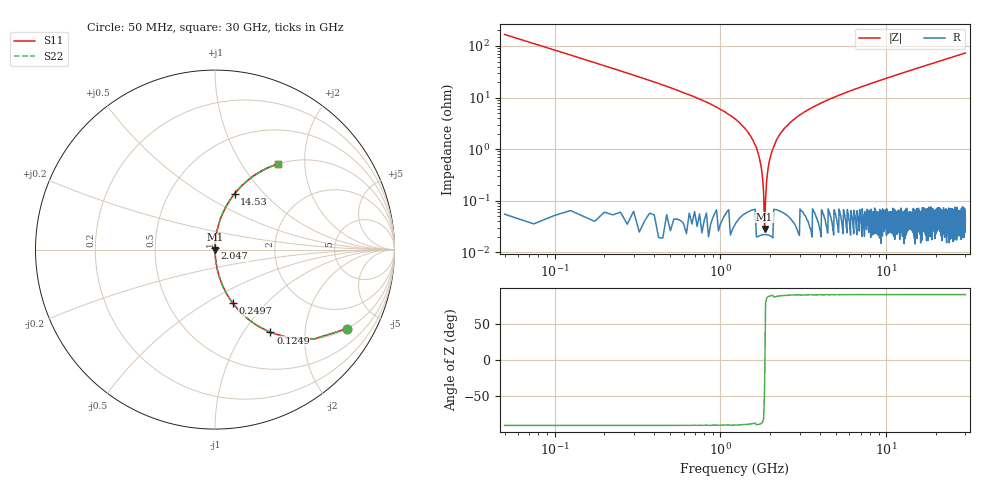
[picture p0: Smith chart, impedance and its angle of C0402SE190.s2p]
!	AVX Thin Film Operation 	Date: April 2014
!	Description: Accu-P® Series, Thin Film  SMD RF Capacitor
!	Part Number: 04023K190FBSTR
# MHZ S MA R 50
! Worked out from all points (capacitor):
!   1201 points, 50 MHz to 30 GHz, reference 50 ohm
!   read as one part in series: C = 19 pF near 199.8 MHz
!   lowest |Z| = 28.2 mohm at 1.847 GHz (marker M1)
!   series resonance near 1.851 GHz, so ESL is about 390 pH
!   S11 on the Smith chart (normalised r, x): 50 MHz: 1.00, -3.35; 124.9 MHz: 1.00, -1.34; 249.7 MHz: 1.00, -0.66; 2.047 GHz: 1.00, +0.02; 14.53 GHz: 1.00, +0.70; 30 GHz: 1.00, +1.46
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50  0.858 -30.8  0.513 59.1  0.513 59.1  0.858 -30.8
124.875  0.555 -56.2  0.831 33.7  0.831 33.7  0.555 -56.2
249.667  0.313 -71.7  0.949 18.2  0.949 18.2  0.313 -71.7
374.458  0.21 -77.8  0.977 12.1  0.977 12.1  0.21 -77.8
624.042  0.118 -83.0  0.993 6.8  0.993 6.8  0.118 -83.0
1422.708  0.024 -87.6  0.999 1.4  0.999 1.4  0.024 -87.6
1622.375  0.012 -87.2  0.999 0.7  0.999 0.7  0.012 -87.2
1747.167  0.005227 -84.9  1 0.3  1 0.3  0.005227 -84.9
1847  0.0004744 -22.0  1 0.0  1 0.0  0.0004744 -22.0
1946.833  0.004609 84.3  1 -0.3  1 -0.3  0.004609 84.3
2046.667  0.009137 86.7  1 -0.5  1 -0.5  0.009137 86.7
2146.5  0.013 87.4  0.999 -0.8  0.999 -0.8  0.013 87.4
2321.208  0.021 87.6  0.999 -1.2  0.999 -1.2  0.021 87.6
2820.375  0.039 87.1  0.999 -2.2  0.999 -2.2  0.039 87.1
3718.875  0.068 85.7  0.997 -3.9  0.997 -3.9  0.068 85.7
5041.667  0.106 83.7  0.994 -6.1  0.994 -6.1  0.106 83.7
10058.29  0.231 76.5  0.972 -13.4  0.972 -13.4  0.231 76.5
14525.83  0.33 70.7  0.944 -19.3  0.944 -19.3  0.33 70.7
15025  0.34 70.0  0.94 -19.9  0.94 -19.9  0.34 70.0
20016.67  0.437 64.1  0.899 -25.9  0.899 -25.9  0.437 64.1
25033.29  0.52 58.6  0.854 -31.3  0.854 -31.3  0.52 58.6
30000  0.59 53.8  0.807 -36.2  0.807 -36.2  0.59 53.8
